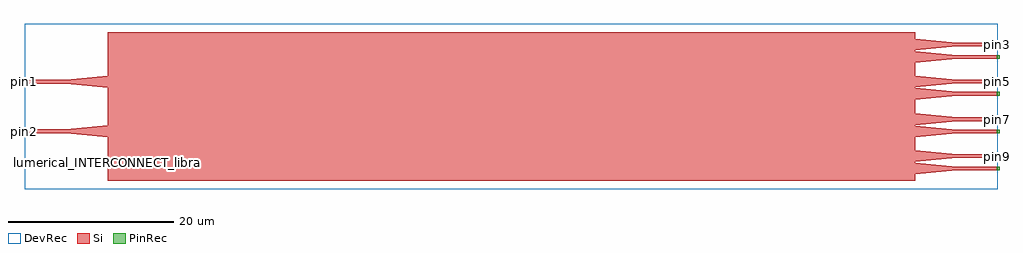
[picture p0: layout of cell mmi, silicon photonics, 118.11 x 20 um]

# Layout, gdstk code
import gdstk
lib = gdstk.Library(unit=1e-6, precision=1e-09)
def R(c, l, rs):  # rectangles x0, y0, x1, y1
    for r in rs: c.add(gdstk.rectangle(r[:2], r[2:], *l))
def P(c, l, *ps):  # polygons
    for p in ps: c.add(gdstk.Polygon(p, *l))
Si = (1, 0)
PinRec = (1, 10)
DevRec = (68, 0)

mmi = lib.new_cell('mmi')
R(mmi, Si, [(439.875,-100.395,537.625,-82.395), (542.625,-99.12,547.625,-98.67), (542.625,-97.62,547.625,-97.17), (542.625,-94.653,547.625,-94.203), (429.875,-94.62,434.875,-94.17), (542.625,-93.153,547.625,-92.703), (542.625,-90.087,547.625,-89.637), (429.875,-88.62,434.875,-88.17), (542.625,-88.587,547.625,-88.137), (542.625,-85.62,547.625,-85.17), (542.625,-84.12,547.625,-83.67)])
P(mmi, Si, [(439.875,-89.105),(434.875,-88.62),(434.875,-88.17),(439.875,-87.685)],
  [(439.875,-95.105),(434.875,-94.62),(434.875,-94.17),(439.875,-93.685)],
  [(537.625,-84.605),(537.625,-83.185),(542.625,-83.67),(542.625,-84.12)],
  [(537.625,-99.605),(537.625,-98.185),(542.625,-98.67),(542.625,-99.12)],
  [(537.625,-86.105),(537.625,-84.685),(542.625,-85.17),(542.625,-85.62)],
  [(537.625,-98.105),(537.625,-96.685),(542.625,-97.17),(542.625,-97.62)],
  [(537.625,-89.072),(537.625,-87.652),(542.625,-88.137),(542.625,-88.587)],
  [(537.625,-95.138),(537.625,-93.718),(542.625,-94.203),(542.625,-94.653)],
  [(537.625,-90.572),(537.625,-89.152),(542.625,-89.637),(542.625,-90.087)],
  [(537.625,-93.638),(537.625,-92.218),(542.625,-92.703),(542.625,-93.153)])
R(mmi, DevRec, [(429.875,-101.395,547.625,-81.395)])
mmi.add(gdstk.FlexPath([(430.059,-88.395),(429.709,-88.395)], 0.45, ends="flush", simple_path=True, layer=1, datatype=10))  # PinRec
mmi.add(gdstk.FlexPath([(430.059,-94.395),(429.709,-94.395)], 0.45, ends="flush", simple_path=True, layer=1, datatype=10))  # PinRec
mmi.add(gdstk.FlexPath([(547.455,-85.395),(547.815,-85.395)], 0.45, ends="flush", simple_path=True, layer=1, datatype=10))  # PinRec
mmi.add(gdstk.FlexPath([(547.455,-83.895),(547.815,-83.895)], 0.45, ends="flush", simple_path=True, layer=1, datatype=10))  # PinRec
mmi.add(gdstk.FlexPath([(547.455,-88.362),(547.815,-88.362)], 0.45, ends="flush", simple_path=True, layer=1, datatype=10))  # PinRec
mmi.add(gdstk.FlexPath([(547.455,-89.862),(547.815,-89.862)], 0.45, ends="flush", simple_path=True, layer=1, datatype=10))  # PinRec
mmi.add(gdstk.FlexPath([(547.455,-92.928),(547.815,-92.928)], 0.45, ends="flush", simple_path=True, layer=1, datatype=10))  # PinRec
mmi.add(gdstk.FlexPath([(547.455,-94.428),(547.815,-94.428)], 0.45, ends="flush", simple_path=True, layer=1, datatype=10))  # PinRec
mmi.add(gdstk.FlexPath([(547.455,-97.395),(547.815,-97.395)], 0.45, ends="flush", simple_path=True, layer=1, datatype=10))  # PinRec
mmi.add(gdstk.FlexPath([(547.455,-98.896),(547.815,-98.896)], 0.45, ends="flush", simple_path=True, layer=1, datatype=10))  # PinRec
mmi.add(gdstk.Label('lumerical_INTERCONNECT_library=Custom', (439.875,-98.13), layer=68, texttype=0))
mmi.add(gdstk.Label('pin1', (429.875,-88.395), layer=1, texttype=10))
mmi.add(gdstk.Label('pin2', (429.875,-94.395), layer=1, texttype=10))
mmi.add(gdstk.Label('pin3', (547.625,-83.895), layer=1, texttype=10))
mmi.add(gdstk.Label('pin4', (547.625,-85.395), layer=1, texttype=10))
mmi.add(gdstk.Label('pin5', (547.625,-88.362), layer=1, texttype=10))
mmi.add(gdstk.Label('pin6', (547.625,-89.862), layer=1, texttype=10))
mmi.add(gdstk.Label('pin7', (547.625,-92.928), layer=1, texttype=10))
mmi.add(gdstk.Label('pin8', (547.625,-94.428), layer=1, texttype=10))
mmi.add(gdstk.Label('pin9', (547.625,-97.395), layer=1, texttype=10))
mmi.add(gdstk.Label('pin10', (547.625,-98.896), layer=1, texttype=10))

lib.write_gds('mmi.gds')
